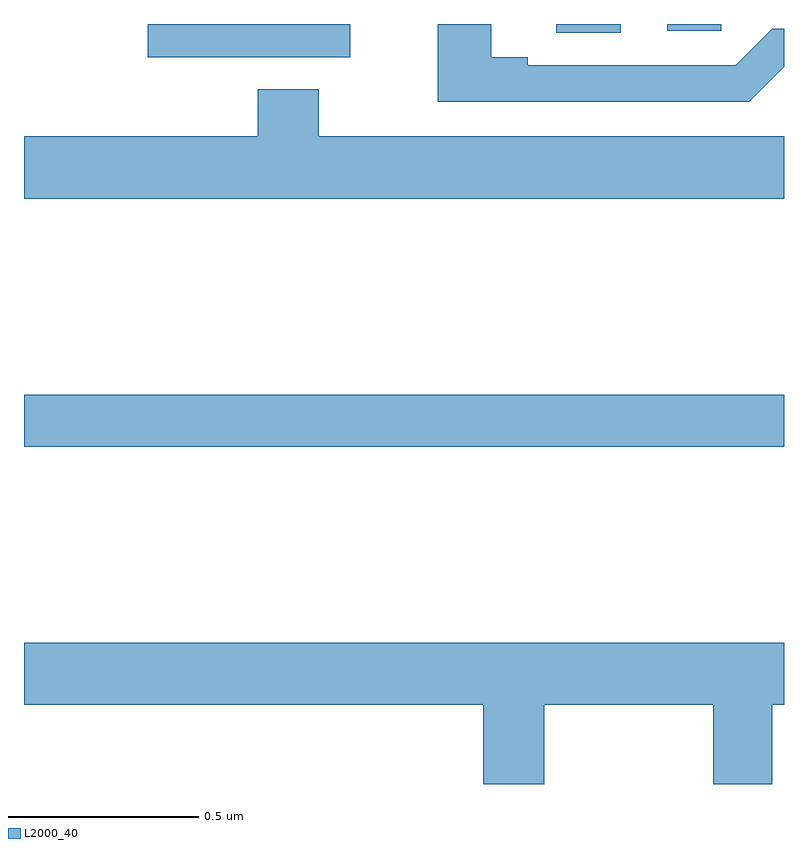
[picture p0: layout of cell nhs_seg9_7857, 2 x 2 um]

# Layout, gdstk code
import gdstk
lib = gdstk.Library(unit=1e-6, precision=1e-09)
def R(c, l, rs):  # rectangles x0, y0, x1, y1
    for r in rs: c.add(gdstk.rectangle(r[:2], r[2:], *l))
def P(c, l, *ps):  # polygons
    for p in ps: c.add(gdstk.Polygon(p, *l))
L2000_40 = (2000, 40)

nhs_seg9_7857 = lib.new_cell('nhs_seg9_7857')
R(nhs_seg9_7857, L2000_40, [(209,1242.388,211,1242.524), (209.325,1243.413,209.859,1243.5), (210.401,1243.477,210.571,1243.5), (210.693,1243.482,210.835,1243.5)])
P(nhs_seg9_7857, L2000_40, [(211,1243.387),(211,1243.488),(210.969,1243.488),(210.873,1243.392),(210.325,1243.392),(210.325,1243.412),(210.229,1243.412),(210.229,1243.5),(210.089,1243.5),(210.089,1243.296),(210.909,1243.296)],
  [(211,1243.204),(209.775,1243.204),(209.775,1243.328),(209.615,1243.328),(209.615,1243.204),(209,1243.204),(209,1243.04),(211,1243.04)],
  [(210.369,1241.708),(210.814,1241.708),(210.814,1241.5),(210.969,1241.5),(210.969,1241.708),(211,1241.708),(211,1241.872),(209,1241.872),(209,1241.708),(210.209,1241.708),(210.209,1241.5),(210.369,1241.5)])

lib.write_gds('nhs_seg9_7857.gds')
